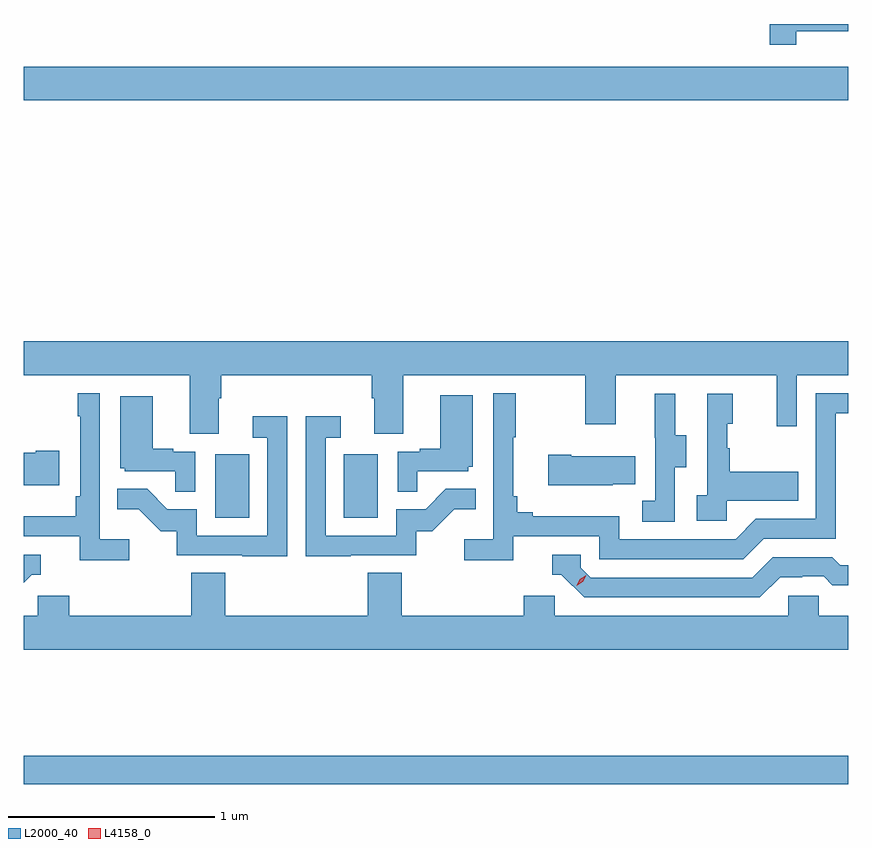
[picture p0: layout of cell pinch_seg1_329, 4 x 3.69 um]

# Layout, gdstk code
import gdstk
lib = gdstk.Library(unit=1e-6, precision=1e-09)
def R(c, l, rs):  # rectangles x0, y0, x1, y1
    for r in rs: c.add(gdstk.rectangle(r[:2], r[2:], *l))
def P(c, l, *ps):  # polygons
    for p in ps: c.add(gdstk.Polygon(p, *l))
L2000_40 = (2000, 40)
L4158_0 = (4158, 0)

pinch_seg1_329 = lib.new_cell('pinch_seg1_329')
R(pinch_seg1_329, L2000_40, [(947.427,548.416,951.427,548.552), (948.356,549.708,948.52,550.015), (948.98,549.708,949.144,550.015), (947.427,551.732,951.427,551.896)])
P(pinch_seg1_329, L2000_40, [(951.175,552.068),(951.427,552.068),(951.427,552.103),(951.046,552.103),(951.046,552.003),(951.175,552.003)],
  [(948.373,550.288),(948.386,550.288),(948.386,550.4),(949.115,550.4),(949.115,550.288),(949.127,550.288),(949.127,550.114),(949.267,550.114),(949.267,550.4),(950.152,550.4),(950.152,550.161),(950.299,550.161),(950.299,550.4),(951.08,550.4),(951.08,550.152),(951.177,550.152),(951.177,550.4),(951.427,550.4),(951.427,550.564),(947.427,550.564),(947.427,550.4),(948.233,550.4),(948.233,550.114),(948.373,550.114)],
  [(949.802,549.618),(950.22,549.618),(950.22,549.507),(950.917,549.507),(951.016,549.606),(951.366,549.606),(951.366,550.215),(951.427,550.215),(951.427,550.311),(951.27,550.311),(951.27,549.702),(950.979,549.702),(950.88,549.603),(950.316,549.603),(950.316,549.715),(949.897,549.715),(949.897,549.734),(949.82,549.734),(949.82,549.811),(949.801,549.811),(949.801,550.099),(949.813,550.099),(949.813,550.312),(949.704,550.312),(949.704,549.604),(949.563,549.604),(949.563,549.502),(949.802,549.502)],
  [(947.938,549.604),(947.796,549.604),(947.796,550.312),(947.688,550.312),(947.688,550.199),(947.7,550.199),(947.7,549.811),(947.68,549.811),(947.68,549.715),(947.427,549.715),(947.427,549.618),(947.699,549.618),(947.699,549.502),(947.938,549.502)],
  [(950.838,549.791),(951.185,549.791),(951.185,549.931),(950.851,549.931),(950.851,550.046),(950.841,550.046),(950.841,550.164),(950.866,550.164),(950.866,550.309),(950.742,550.309),(950.742,549.818),(950.691,549.818),(950.691,549.693),(950.838,549.693)],
  [(950.586,549.952),(950.641,549.952),(950.641,550.107),(950.587,550.107),(950.587,550.309),(950.489,550.309),(950.489,550.095),(950.49,550.095),(950.49,549.791),(950.427,549.791),(950.427,549.688),(950.586,549.688)],
  [(949.337,549.933),(949.584,549.933),(949.584,549.954),(949.606,549.954),(949.606,550.303),(949.448,550.303),(949.448,550.042),(949.349,550.042),(949.349,550.029),(949.242,550.029),(949.242,549.835),(949.337,549.835)],
  [(948.258,550.029),(948.152,550.029),(948.152,550.042),(948.052,550.042),(948.052,550.297),(947.894,550.297),(947.894,549.948),(947.916,549.948),(947.916,549.933),(948.163,549.933),(948.163,549.835),(948.258,549.835)],
  [(948.705,550.201),(948.537,550.201),(948.537,550.095),(948.609,550.095),(948.609,549.621),(948.267,549.621),(948.267,549.75),(948.123,549.75),(948.025,549.848),(947.881,549.848),(947.881,549.749),(947.985,549.749),(948.092,549.642),(948.169,549.642),(948.169,549.525),(948.487,549.525),(948.487,549.52),(948.705,549.52)],
  [(949.013,549.525),(949.332,549.525),(949.332,549.642),(949.408,549.642),(949.515,549.749),(949.619,549.749),(949.619,549.848),(949.475,549.848),(949.377,549.75),(949.233,549.75),(949.233,549.621),(948.891,549.621),(948.891,550.095),(948.964,550.095),(948.964,550.201),(948.795,550.201),(948.795,549.52),(949.013,549.52)],
  [(947.599,550.032),(947.486,550.032),(947.486,550.024),(947.427,550.024),(947.427,549.866),(947.599,549.866)],
  [(950.285,549.869),(950.393,549.869),(950.393,550.006),(950.083,550.006),(950.083,550.014),(949.971,550.014),(949.971,549.866),(950.285,549.866)],
  [(947.466,549.432),(947.509,549.432),(947.509,549.528),(947.427,549.528),(947.427,549.393)],
  [(951.097,549.42),(951.204,549.42),(951.204,549.423),(951.307,549.423),(951.349,549.381),(951.427,549.381),(951.427,549.477),(951.388,549.477),(951.349,549.516),(951.06,549.516),(950.961,549.417),(950.178,549.417),(950.13,549.465),(950.13,549.528),(949.991,549.528),(949.991,549.432),(950.034,549.432),(950.145,549.321),(950.998,549.321)],
  [(951.427,549.232),(951.285,549.232),(951.285,549.33),(951.135,549.33),(951.135,549.232),(950.004,549.232),(950.004,549.33),(949.853,549.33),(949.853,549.232),(949.262,549.232),(949.262,549.44),(949.097,549.44),(949.097,549.232),(948.404,549.232),(948.404,549.44),(948.239,549.44),(948.239,549.232),(947.648,549.232),(947.648,549.33),(947.496,549.33),(947.496,549.232),(947.427,549.232),(947.427,549.068),(951.427,549.068)])
P(pinch_seg1_329, L4158_0, [(950.109,549.377),(950.109,549.377),(950.125,549.41),(950.156,549.429),(950.156,549.429),(950.156,549.429),(950.14,549.396),(950.109,549.377)])

lib.write_gds('pinch_seg1_329.gds')
